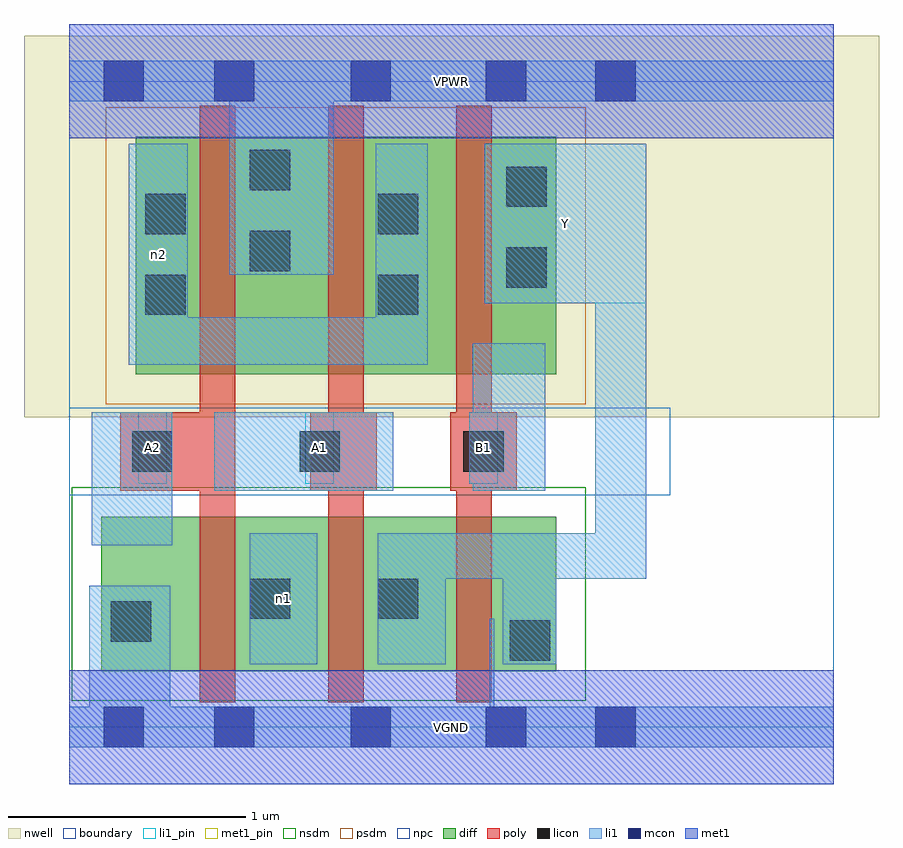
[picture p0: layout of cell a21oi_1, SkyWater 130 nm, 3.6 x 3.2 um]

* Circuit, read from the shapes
.subckt a21oi_1 A1 A2 B1 VGND VPWR Y n1 n2
XM1 n1 A2 VGND VSUBS sky130_fd_pr__nfet_01v8 w=0.65 l=0.15
XM2 Y A1 n1 VSUBS sky130_fd_pr__nfet_01v8 w=0.65 l=0.15
XM3 Y B1 Y VSUBS sky130_fd_pr__nfet_01v8 w=0.65 l=0.15
XM4 VPWR A2 n2 n3 sky130_fd_pr__pfet_01v8 w=1 l=0.15
XM5 n2 A1 VPWR n3 sky130_fd_pr__pfet_01v8 w=1 l=0.15
XM6 Y B1 n2 n3 sky130_fd_pr__pfet_01v8 w=1 l=0.15
.ends

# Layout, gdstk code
import gdstk
lib = gdstk.Library(unit=1e-6, precision=1e-09)
def R(c, l, rs):  # rectangles x0, y0, x1, y1
    for r in rs: c.add(gdstk.rectangle(r[:2], r[2:], *l))
def A(c, l, x, y, w, h, nx, ny, dx, dy):  # array of equal rectangles
    R(c, l, [(x+i*dx, y+j*dy, x+i*dx+w, y+j*dy+h) for i in range(nx) for j in range(ny)])
nwell = (64, 20)
diff = (65, 20)
poly = (66, 20)
licon = (66, 44)
li1_pin = (67, 16)
li1 = (67, 20)
mcon = (67, 44)
met1_pin = (68, 16)
met1 = (68, 20)
nsdm = (93, 44)
psdm = (94, 20)
npc = (95, 20)
boundary = (235, 4)

a21oi_1 = lib.new_cell('a21oi_1')
R(a21oi_1, nwell, [(-0.19,1.305,3.41,2.91), (0,1.305,3.22,2.91)])
R(a21oi_1, diff, [(0.135,0.235,2.05,0.885), (0.28,1.485,2.05,2.485)])
A(a21oi_1, poly, 0.55, 0.105, 0.15, 2.51, 3, 1, 0.54, 0)
R(a21oi_1, poly, [(0.215,0.995,0.7,1.325), (1.015,0.995,1.295,1.325), (1.605,0.995,1.885,1.325)])
R(a21oi_1, licon, [(1.855,0.28,2.025,0.45), (0.175,0.36,0.345,0.53), (0.76,0.455,0.93,0.625), (1.3,0.455,1.47,0.625), (0.265,1.075,0.435,1.245), (0.97,1.075,1.14,1.245), (1.66,1.075,1.83,1.245), (0.32,1.735,0.49,1.905), (1.3,1.735,1.47,1.905), (1.84,1.85,2.01,2.02), (0.76,1.92,0.93,2.09), (0.32,2.075,0.49,2.245), (1.3,2.075,1.47,2.245), (1.84,2.19,2.01,2.36), (0.76,2.26,0.93,2.43)])
R(a21oi_1, li1_pin, [(0.29,1.025,0.41,1.325), (0.995,1.025,1.115,1.325), (1.685,1.025,1.805,1.325), (1.75,1.785,2.43,2.455)])
R(a21oi_1, li1, [(0,-0.085,3.22,0.085), (0.085,-0.085,0.425,0.595), (1.77,-0.085,1.79,0.455), (0.76,0.265,1.045,0.815), (1.3,0.265,1.585,0.815), (1.825,0.265,2.05,0.815), (1.3,0.625,2.43,0.815), (2.215,0.625,2.43,2.455), (0.095,0.765,0.435,1.325), (0.61,0.995,0.965,1.325), (0.61,0.995,1.365,1.325), (1.7,0.995,2.005,1.615), (0.29,1.025,0.41,1.325), (0.995,1.025,1.115,1.325), (1.685,1.025,1.805,1.325), (0.25,1.525,0.5,2.455), (0.25,1.525,1.51,1.725), (1.29,1.525,1.51,2.455), (1.75,1.785,2.43,2.455), (0.675,1.905,1.115,2.805), (0,2.635,3.22,2.805)])
R(a21oi_1, mcon, [(0.145,-0.085,0.315,0.085), (0.61,-0.085,0.78,0.085), (1.185,-0.085,1.355,0.085), (1.755,-0.085,1.925,0.085), (2.215,-0.085,2.385,0.085), (0.145,2.635,0.315,2.805), (0.61,2.635,0.78,2.805), (1.185,2.635,1.355,2.805), (1.755,2.635,1.925,2.805), (2.215,2.635,2.385,2.805)])
R(a21oi_1, met1_pin, [(0,-0.24,3.22,0.24), (0,2.48,3.22,2.96)])
R(a21oi_1, met1, [(0,-0.24,3.22,0.24), (0,2.48,3.22,2.96)])
R(a21oi_1, nsdm, [(0.01,0.11,2.175,1.01)])
R(a21oi_1, psdm, [(0.155,1.36,2.175,2.61)])
R(a21oi_1, npc, [(0,0.975,2.53,1.345)])
R(a21oi_1, boundary, [(0,0,3.22,2.72)])
a21oi_1.add(gdstk.Label('A1', (1.055,1.175), layer=67, texttype=5))
a21oi_1.add(gdstk.Label('A2', (0.35,1.175), layer=67, texttype=5))
a21oi_1.add(gdstk.Label('B1', (1.745,1.175), layer=67, texttype=5))
a21oi_1.add(gdstk.Label('Y', (2.09,2.12), layer=67, texttype=5))
a21oi_1.add(gdstk.Label('n1', (0.902,0.54), layer=67, texttype=5))
a21oi_1.add(gdstk.Label('n2', (0.375,1.99), layer=67, texttype=5))
a21oi_1.add(gdstk.Label('VPWR', (1.61,2.72), layer=68, texttype=5))
a21oi_1.add(gdstk.Label('VGND', (1.61,0), layer=68, texttype=5))
a21oi_1.add(gdstk.Label('A1', (1.055,1.175), layer=67, texttype=16))
a21oi_1.add(gdstk.Label('A2', (0.35,1.175), layer=67, texttype=16))
a21oi_1.add(gdstk.Label('B1', (1.745,1.175), layer=67, texttype=16))
a21oi_1.add(gdstk.Label('Y', (2.09,2.12), layer=67, texttype=16))
a21oi_1.add(gdstk.Label('VPWR', (1.61,2.72), layer=68, texttype=16))
a21oi_1.add(gdstk.Label('VGND', (1.61,0), layer=68, texttype=16))

lib.write_gds('a21oi_1.gds')
